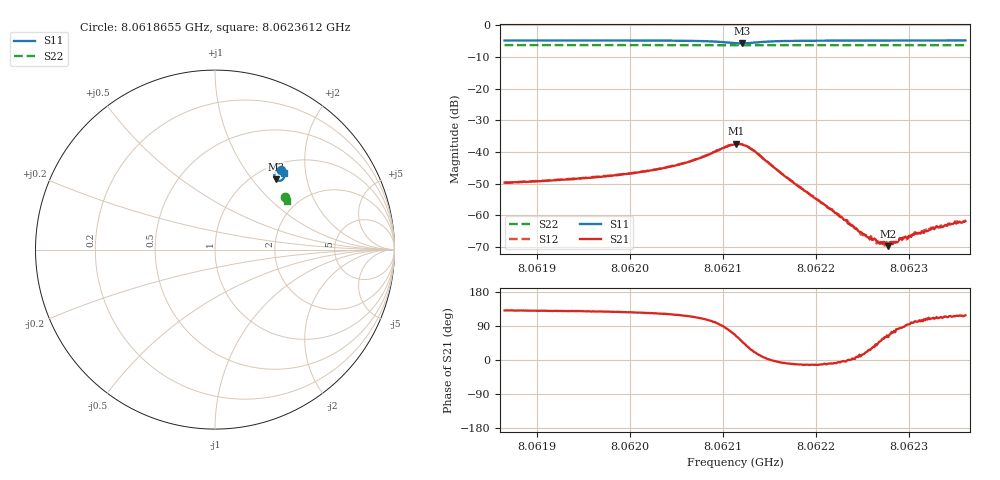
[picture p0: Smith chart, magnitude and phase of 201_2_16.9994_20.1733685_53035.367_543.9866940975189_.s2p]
#  HZ  S  RI  R  50.00
! Rohde & Schwarz Vector Network Analyzer
! Rohde-Schwarz,ZNB20-2Port,1311601062101988,3.16
! Created: UTC 3/20/2024, 11:01:04 PM
! freq[Hz]  re:S11  im:S11  re:S21  im:S21  re:S12  im:S12  re:S22  im:S22
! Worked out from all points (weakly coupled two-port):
!   401 points, 8.0618655 GHz to 8.0623612 GHz, reference 50 ohm
!   highest |S21| = -37.42 dB at 8.0621146 GHz (marker M1); lowest = -69.8 dB at 8.0622782 GHz (marker M2)
!   lowest |S11| = -5.7 dB at 8.0621208 GHz (marker M3), VSWR 3.15, Z = 62 + j66.3 ohm
!   |S11| at or under -10 dB: nowhere
!   |S22| runs from -6.3 to -6.3 dB; largest |S21 - S12| = 0.00096
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8.06186548e9  0.3678 0.443  -0.00214 0.00248  -0.00202 0.00262  0.3872 0.2945
8.06194851e9  0.3742 0.4371  -0.00241 0.00299  -0.00222 0.00318  0.39 0.2904
8.06203155e9  0.3821 0.4268  -0.00287 0.00452  -0.00263 0.00474  0.3931 0.2861
8.06206501e9  0.3856 0.4168  -0.003 0.00642  -0.00265 0.00666  0.3942 0.284
8.06211334e9  0.3543 0.3838  0.00525 0.012  0.00614 0.0118  0.3938 0.2809
8.06211458e9  0.3516 0.3843  0.00613 0.012  0.00674 0.0117  0.3937 0.2809
8.06212077e9  0.3389 0.3912  0.00862 0.00999  0.00924 0.00943  0.3934 0.2811
8.06213564e9  0.3317 0.4203  0.00943 0.00328  0.00955 0.0025  0.394 0.2816
8.06216539e9  0.3537 0.439  0.00429 -0.000578  0.00428 -0.000817  0.3963 0.2808
8.06219637e9  0.3661 0.4385  0.00199 -0.000437  0.00195 -0.000555  0.3977 0.2792
8.06223603e9  0.374 0.4355  0.000726 4.28e-06  0.000751 -8.33e-05  0.3992 0.277
8.0622509e9  0.376 0.4343  0.000491 0.000128  0.000479 7.6e-05  0.3997 0.2763
8.06225709e9  0.3767 0.434  0.000394 0.000201  0.000443 0.000185  0.4 0.276
8.06226453e9  0.3776 0.4333  0.000312 0.000277  0.00033 0.000183  0.4003 0.2756
8.06226949e9  0.3781 0.4331  0.000232 0.000269  0.000274 0.000272  0.4004 0.2753
8.0622732e9  0.3786 0.4328  0.00022 0.00032  0.000227 0.000275  0.4006 0.2752
8.06227816e9  0.3792 0.4325  0.000159 0.000283  0.000177 0.000348  0.4007 0.2749
8.0622794e9  0.3792 0.4325  0.00015 0.000342  0.000164 0.000345  0.4007 0.2749
8.06228436e9  0.3797 0.4321  9.02e-05 0.000381  0.000118 0.000357  0.4009 0.2745
8.06230543e9  0.3818 0.4306  -7.38e-05 0.000488  -7.96e-05 0.000484  0.4017 0.2735
8.06232773e9  0.3837 0.4292  -0.000195 0.00057  -0.000178 0.000619  0.4023 0.2724
8.06236119e9  0.3863 0.4272  -0.00038 0.000717  -0.000315 0.000736  0.4035 0.2707
